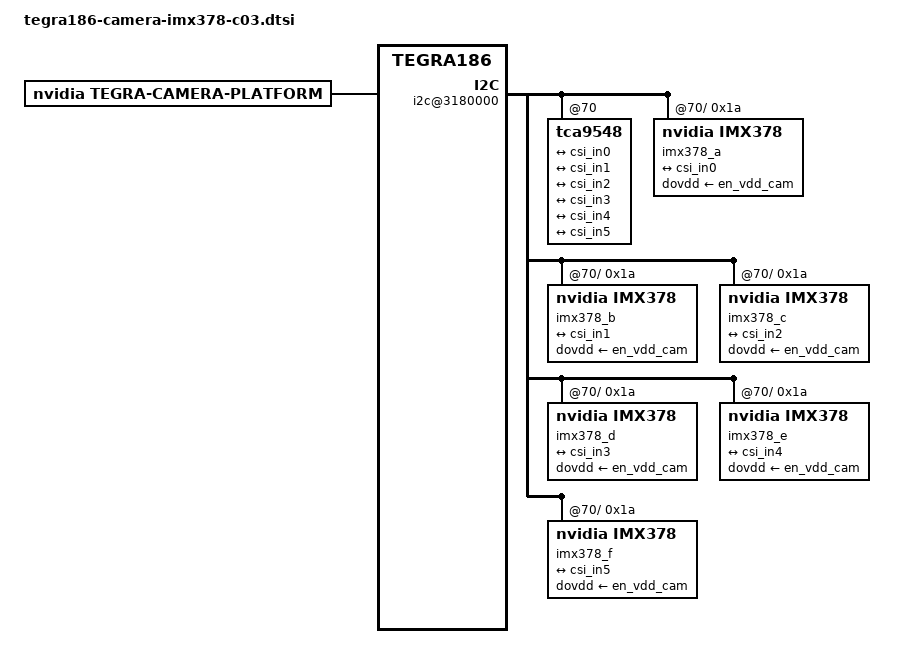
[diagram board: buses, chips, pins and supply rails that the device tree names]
/*
 * Copyright (c) 2017, CenturyArks All rights reserved.
 * Copyright (c) 2016, NVIDIA CORPORATION.  All rights reserved.
 *
 * This program is free software; you can redistribute it and/or modify
 * it under the terms of the GNU General Public License as published by
 * the Free Software Foundation; either version 2 of the License, or
 * (at your option) any later version.
 *
 * This program is distributed in the hope that it will be useful, but WITHOUT
 * ANY WARRANTY; without even the implied warranty of MERCHANTABILITY or
 * FITNESS FOR A PARTICULAR PURPOSE.  See the GNU General Public License for
 * more details.
 *
 * You should have received a copy of the GNU General Public License
 * along with this program.  If not, see <http://www.gnu.org/licenses/>.
 */

/ {
	host1x {
		vi@15700000 {
			num-channels = <6>;
			ports {
				#address-cells = <1>;
				#size-cells = <0>;
				port@0 {
					reg = <0>;
					vi_in0: endpoint {
						port-index = <0>;
						bus-width = <2>;
						remote-endpoint = <&csi_out0>;
					};
				};
				port@1 {
					reg = <1>;
					vi_in1: endpoint {
						port-index = <1>;
						bus-width = <2>;
						remote-endpoint = <&csi_out1>;
					};
				};
				port@2 {
					reg = <2>;
					vi_in2: endpoint {
						port-index = <2>;
						bus-width = <2>;
						remote-endpoint = <&csi_out2>;
					};
				};
				port@3 {
					reg = <3>;
					vi_in3: endpoint {
						port-index = <3>;
						bus-width = <2>;
						remote-endpoint = <&csi_out3>;
					};
				};
				port@4 {
					reg = <4>;
					vi_in4: endpoint {
						port-index = <4>;
						bus-width = <2>;
						remote-endpoint = <&csi_out4>;
					};
				};
				port@5 {
					reg = <5>;
					vi_in5: endpoint {
						port-index = <5>;
						bus-width = <2>;
						remote-endpoint = <&csi_out5>;
					};
				};
			};
		};

		nvcsi@150c0000 {
			num-channels = <6>;
			channel@0 {
				reg = <0>;
				ports {
					#address-cells = <1>;
					#size-cells = <0>;
					port@0 {
						reg = <0>;
						csi_in0: endpoint@0 {
							port-index = <0>;
							bus-width = <2>;
							remote-endpoint = <&imx378_out0>;
						};
					};
					port@1 {
						reg = <1>;
						csi_out0: endpoint@1 {
							remote-endpoint = <&vi_in0>;
						};
					};
				};
			};
			channel@1 {
				reg = <1>;
				ports {
					#address-cells = <1>;
					#size-cells = <0>;
					port@0 {
						reg = <0>;
						csi_in1: endpoint@2 {
							port-index = <1>;
							bus-width = <2>;
							remote-endpoint = <&imx378_out1>;
						};
					};
					port@1 {
						reg = <1>;
						csi_out1: endpoint@3 {
							remote-endpoint = <&vi_in1>;
						};
					};
				};
			};
			channel@2 {
				reg = <2>;
				ports {
					#address-cells = <1>;
					#size-cells = <0>;
					port@0 {
						reg = <0>;
						csi_in2: endpoint@4 {
							port-index = <2>;
							bus-width = <2>;
							remote-endpoint = <&imx378_out2>;
						};
					};
					port@1 {
						reg = <1>;
						csi_out2: endpoint@5 {
							remote-endpoint = <&vi_in2>;
						};
					};
				};
			};
			channel@3 {
				reg = <3>;
				ports {
					#address-cells = <1>;
					#size-cells = <0>;
					port@0 {
						reg = <0>;
						csi_in3: endpoint@6 {
							port-index = <3>;
							bus-width = <2>;
							remote-endpoint = <&imx378_out3>;
						};
					};
					port@1 {
						reg = <1>;
						csi_out3: endpoint@7 {
							remote-endpoint = <&vi_in3>;
						};
					};
				};
			};
			channel@4 {
				reg = <4>;
				ports {
					#address-cells = <1>;
					#size-cells = <0>;
					port@0 {
						reg = <0>;
						csi_in4: endpoint@8 {
							port-index = <4>;
							bus-width = <2>;
							remote-endpoint = <&imx378_out4>;
						};
					};
					port@1 {
						reg = <1>;
						csi_out4: endpoint@9 {
							remote-endpoint = <&vi_in4>;
						};
					};
				};
			};
			channel@5 {
				reg = <5>;
				ports {
					#address-cells = <1>;
					#size-cells = <0>;
					port@0 {
						reg = <0>;
						csi_in5: endpoint@10 {
							port-index = <5>;
							bus-width = <2>;
							remote-endpoint = <&imx378_out5>;
						};
					};
					port@1 {
						reg = <1>;
						csi_out5: endpoint@11 {
							remote-endpoint = <&vi_in5>;
						};
					};
				};
			};
		};
	};

	i2c@3180000 {
		tca9548@70 {
			i2c@0 {
				imx378_a@1a {
					devnode = "video0";
					compatible = "nvidia,imx378";
					reg = <0x1a>;

					physical_w = "7.564";
					physical_h = "5.476";

					sensor_model ="imx378";
					dovdd-supply = <&en_vdd_cam>;
					avdd-reg = "vana";
					dvdd-reg = "vdig";
					iovdd-reg = "dovdd";

					mode0 { // IMX378_MODE_4032X3040
						mclk_khz = "6000";
						num_lanes = "2";
						tegra_sinterface = "serial_a";
						phy_mode = "DPHY";
						discontinuous_clk = "yes";
						cil_settletime = "0";

						active_w = "4032";
						active_h = "3040";
						mode_type = "bayer";
						pixel_phase = "rggb";
						csi_pixel_bit_depth = "10";
						readout_orientation = "90";
						line_length = "4350";
						inherent_gain = "1";
						mclk_multiplier = "348";
						pix_clk_hz = "417600000";

						gain_factor = "256";
						min_gain_val = "256";
						max_gain_val = "5632";
						step_gain_val = "1";
						default_gain = "256";
						min_hdr_ratio = "1";
						max_hdr_ratio = "64";
						framerate_factor = "1000000";
						min_framerate = "1000000";
						max_framerate = "30000000";
						step_framerate = "1";
						default_framerate= "30000000";
						exposure_factor = "1";
						min_exp_time = "1";
						max_exp_time = "65515";
						step_exp_time = "1";
						default_exp_time = "3180";/* us */
						embedded_metadata_height = "0";
					};
					mode1 { // IMX378_MODE_3840X2160
						mclk_khz = "6000";
						num_lanes = "2";
						tegra_sinterface = "serial_a";
						phy_mode = "DPHY";
						discontinuous_clk = "yes";
						cil_settletime = "0";

						active_w = "3840";
						active_h = "2160";
						mode_type = "bayer";
						pixel_phase = "rggb";
						csi_pixel_bit_depth = "10";
						readout_orientation = "90";
						line_length = "4250";
						inherent_gain = "1";
						mclk_multiplier = "238";
						pix_clk_hz = "285600000";

						gain_factor = "256";
						min_gain_val = "256";
						max_gain_val = "5632";
						step_gain_val = "1";
						default_gain = "256";
						min_hdr_ratio = "1";
						max_hdr_ratio = "64";
						framerate_factor = "1000000";
						min_framerate = "1000000";
						max_framerate = "30000000";
						step_framerate = "1";
						default_framerate= "30000000";
						exposure_factor = "1";
						min_exp_time = "1";
						max_exp_time = "65515";
						step_exp_time = "1";
						default_exp_time = "2220";/* us */
						embedded_metadata_height = "0";
					};
					mode2 { // IMX378_MODE_1920X1080
						mclk_khz = "6000";
						num_lanes = "2";
						tegra_sinterface = "serial_a";
						phy_mode = "DPHY";
						discontinuous_clk = "yes";
						cil_settletime = "0";

						active_w = "1920";
						active_h = "1080";
						mode_type = "bayer";
						pixel_phase = "rggb";
						csi_pixel_bit_depth = "10";
						readout_orientation = "90";
						line_length = "2240";
						inherent_gain = "1";
						mclk_multiplier = "126";
						pix_clk_hz = "151200000";

						gain_factor = "256";
						min_gain_val = "256";
						max_gain_val = "5632";
						step_gain_val = "1";
						default_gain = "256";
						min_hdr_ratio = "1";
						max_hdr_ratio = "64";
						framerate_factor = "1000000";
						min_framerate = "1000000";
						max_framerate = "60000000";
						step_framerate = "1";
						default_framerate= "30000000";
						exposure_factor = "1";
						min_exp_time = "1";
						max_exp_time = "65515";
						step_exp_time = "1";
						default_exp_time = "1105";/* us */
						embedded_metadata_height = "0";
					};
					mode3 { // IMX378_MODE_640X480
						mclk_khz = "6000";
						num_lanes = "2";
						tegra_sinterface = "serial_a";
						phy_mode = "DPHY";
						discontinuous_clk = "yes";
						cil_settletime = "0";

						active_w = "640";
						active_h = "480";
						mode_type = "bayer";
						pixel_phase = "rggb";
						csi_pixel_bit_depth = "10";
						readout_orientation = "90";
						line_length = "800";
						inherent_gain = "1";
						mclk_multiplier = "140";
						pix_clk_hz = "168000000";

						gain_factor = "256";
						min_gain_val = "256";
						max_gain_val = "5632";
						step_gain_val = "1";
						default_gain = "256";
						min_hdr_ratio = "1";
						max_hdr_ratio = "64";
						framerate_factor = "1000000";
						min_framerate = "1000000";
						max_framerate = "200000000";
						step_framerate = "1";
						default_framerate= "30000000";
						exposure_factor = "1";
						min_exp_time = "1";
						max_exp_time = "65515";
						step_exp_time = "1";
						default_exp_time = "1030";/* us */
						embedded_metadata_height = "0";
					};
					ports {
						#address-cells = <1>;
						#size-cells = <0>;
						port@0 {
							reg = <0>;
							imx378_out0: endpoint {
								port-index = <0>;
								bus-width = <2>;
								remote-endpoint = <&csi_in0>;
							};
						};
					};
				};
			};
			i2c@1 {
				imx378_b@1a {
					devnode = "video1";
					compatible = "nvidia,imx378";
					reg = <0x1a>;

					physical_w = "7.564";
					physical_h = "5.476";

					sensor_model ="imx378";
					dovdd-supply = <&en_vdd_cam>;
					avdd-reg = "vana";
					dvdd-reg = "vdig";
					iovdd-reg = "dovdd";

					mode0 { // IMX378_MODE_4032X3040
						mclk_khz = "6000";
						num_lanes = "2";
						tegra_sinterface = "serial_b";
						phy_mode = "DPHY";
						discontinuous_clk = "yes";
						cil_settletime = "0";

						active_w = "4032";
						active_h = "3040";
						mode_type = "bayer";
						pixel_phase = "rggb";
						csi_pixel_bit_depth = "10";
						readout_orientation = "90";
						line_length = "4350";
						inherent_gain = "1";
						mclk_multiplier = "348";
						pix_clk_hz = "417600000";

						gain_factor = "256";
						min_gain_val = "256";
						max_gain_val = "5632";
						step_gain_val = "1";
						default_gain = "256";
						min_hdr_ratio = "1";
						max_hdr_ratio = "64";
						framerate_factor = "1000000";
						min_framerate = "1000000";
						max_framerate = "30000000";
						step_framerate = "1";
						default_framerate= "30000000";
						exposure_factor = "1";
						min_exp_time = "1";
						max_exp_time = "65515";
						step_exp_time = "1";
						default_exp_time = "3180";/* us */
						embedded_metadata_height = "0";
					};
					mode1 { // IMX378_MODE_3840X2160
						mclk_khz = "6000";
						num_lanes = "2";
						tegra_sinterface = "serial_b";
						phy_mode = "DPHY";
						discontinuous_clk = "yes";
						cil_settletime = "0";

						active_w = "3840";
						active_h = "2160";
						mode_type = "bayer";
						pixel_phase = "rggb";
						csi_pixel_bit_depth = "10";
						readout_orientation = "90";
						line_length = "4250";
						inherent_gain = "1";
						mclk_multiplier = "238";
						pix_clk_hz = "285600000";

						gain_factor = "256";
						min_gain_val = "256";
						max_gain_val = "5632";
						step_gain_val = "1";
						default_gain = "256";
						min_hdr_ratio = "1";
						max_hdr_ratio = "64";
						framerate_factor = "1000000";
						min_framerate = "1000000";
						max_framerate = "30000000";
						step_framerate = "1";
						default_framerate= "30000000";
						exposure_factor = "1";
						min_exp_time = "1";
						max_exp_time = "65515";
						step_exp_time = "1";
						default_exp_time = "2220";/* us */
						embedded_metadata_height = "0";
					};
					mode2 { // IMX378_MODE_1920X1080
						mclk_khz = "6000";
						num_lanes = "2";
						tegra_sinterface = "serial_b";
						phy_mode = "DPHY";
						discontinuous_clk = "yes";
						cil_settletime = "0";

						active_w = "1920";
						active_h = "1080";
						mode_type = "bayer";
						pixel_phase = "rggb";
						csi_pixel_bit_depth = "10";
						readout_orientation = "90";
						line_length = "2240";
						inherent_gain = "1";
						mclk_multiplier = "126";
						pix_clk_hz = "151200000";

						gain_factor = "256";
						min_gain_val = "256";
						max_gain_val = "5632";
						step_gain_val = "1";
						default_gain = "256";
						min_hdr_ratio = "1";
						max_hdr_ratio = "64";
						framerate_factor = "1000000";
						min_framerate = "1000000";
						max_framerate = "60000000";
						step_framerate = "1";
						default_framerate= "30000000";
						exposure_factor = "1";
						min_exp_time = "1";
						max_exp_time = "65515";
						step_exp_time = "1";
						default_exp_time = "1105";/* us */
						embedded_metadata_height = "0";
					};
					mode3 { // IMX378_MODE_640X480
						mclk_khz = "6000";
						num_lanes = "2";
						tegra_sinterface = "serial_b";
						phy_mode = "DPHY";
						discontinuous_clk = "yes";
						cil_settletime = "0";

						active_w = "640";
						active_h = "480";
						mode_type = "bayer";
						pixel_phase = "rggb";
						csi_pixel_bit_depth = "10";
						readout_orientation = "90";
						line_length = "800";
						inherent_gain = "1";
						mclk_multiplier = "140";
						pix_clk_hz = "168000000";

						gain_factor = "256";
						min_gain_val = "256";
						max_gain_val = "5632";
						step_gain_val = "1";
						default_gain = "256";
						min_hdr_ratio = "1";
						max_hdr_ratio = "64";
						framerate_factor = "1000000";
						min_framerate = "1000000";
						max_framerate = "200000000";
						step_framerate = "1";
						default_framerate= "30000000";
						exposure_factor = "1";
						min_exp_time = "1";
						max_exp_time = "65515";
						step_exp_time = "1";
						default_exp_time = "1030";/* us */
						embedded_metadata_height = "0";
					};
					ports {
						#address-cells = <1>;
						#size-cells = <0>;
						port@0 {
							reg = <0>;
							imx378_out1: endpoint {
								port-index = <1>;
								bus-width = <2>;
								remote-endpoint = <&csi_in1>;
							};
						};
					};
				};
			};
			i2c@2 {
				imx378_c@1a {
					devnode = "video2";
					compatible = "nvidia,imx378";
					reg = <0x1a>;

					physical_w = "7.564";
					physical_h = "5.476";

					sensor_model ="imx378";
					dovdd-supply = <&en_vdd_cam>;
					avdd-reg = "vana";
					dvdd-reg = "vdig";
					iovdd-reg = "dovdd";

					mode0 { // IMX378_MODE_4032X3040
						mclk_khz = "6000";
						num_lanes = "2";
						tegra_sinterface = "serial_c";
						phy_mode = "DPHY";
						discontinuous_clk = "yes";
						cil_settletime = "0";

						active_w = "4032";
						active_h = "3040";
						mode_type = "bayer";
						pixel_phase = "rggb";
						csi_pixel_bit_depth = "10";
						readout_orientation = "90";
						line_length = "4350";
						inherent_gain = "1";
						mclk_multiplier = "348";
						pix_clk_hz = "417600000";

						gain_factor = "256";
						min_gain_val = "256";
						max_gain_val = "5632";
						step_gain_val = "1";
						default_gain = "256";
						min_hdr_ratio = "1";
						max_hdr_ratio = "64";
						framerate_factor = "1000000";
						min_framerate = "1000000";
						max_framerate = "30000000";
						step_framerate = "1";
						default_framerate= "30000000";
						exposure_factor = "1";
						min_exp_time = "1";
						max_exp_time = "65515";
						step_exp_time = "1";
						default_exp_time = "3180";/* us */
						embedded_metadata_height = "0";
					};
					mode1 { // IMX378_MODE_3840X2160
						mclk_khz = "6000";
						num_lanes = "2";
						tegra_sinterface = "serial_c";
						phy_mode = "DPHY";
						discontinuous_clk = "yes";
						cil_settletime = "0";

						active_w = "3840";
						active_h = "2160";
						mode_type = "bayer";
						pixel_phase = "rggb";
						csi_pixel_bit_depth = "10";
						readout_orientation = "90";
						line_length = "4250";
						inherent_gain = "1";
						mclk_multiplier = "238";
						pix_clk_hz = "285600000";

						gain_factor = "256";
						min_gain_val = "256";
						max_gain_val = "5632";
						step_gain_val = "1";
						default_gain = "256";
						min_hdr_ratio = "1";
						max_hdr_ratio = "64";
						framerate_factor = "1000000";
						min_framerate = "1000000";
						max_framerate = "30000000";
						step_framerate = "1";
						default_framerate= "30000000";
						exposure_factor = "1";
						min_exp_time = "1";
						max_exp_time = "65515";
						step_exp_time = "1";
						default_exp_time = "2220";/* us */
						embedded_metadata_height = "0";
					};
					mode2 { // IMX378_MODE_1920X1080
						mclk_khz = "6000";
						num_lanes = "2";
						tegra_sinterface = "serial_c";
						phy_mode = "DPHY";
						discontinuous_clk = "yes";
						cil_settletime = "0";

						active_w = "1920";
						active_h = "1080";
						mode_type = "bayer";
						pixel_phase = "rggb";
						csi_pixel_bit_depth = "10";
						readout_orientation = "90";
						line_length = "2240";
						inherent_gain = "1";
						mclk_multiplier = "126";
						pix_clk_hz = "151200000";

						gain_factor = "256";
						min_gain_val = "256";
						max_gain_val = "5632";
						step_gain_val = "1";
						default_gain = "256";
						min_hdr_ratio = "1";
						max_hdr_ratio = "64";
						framerate_factor = "1000000";
						min_framerate = "1000000";
						max_framerate = "60000000";
						step_framerate = "1";
						default_framerate= "30000000";
						exposure_factor = "1";
						min_exp_time = "1";
						max_exp_time = "65515";
						step_exp_time = "1";
						default_exp_time = "1105";/* us */
						embedded_metadata_height = "0";
					};
					mode3 { // IMX378_MODE_640X480
						mclk_khz = "6000";
						num_lanes = "2";
						tegra_sinterface = "serial_c";
						phy_mode = "DPHY";
						discontinuous_clk = "yes";
						cil_settletime = "0";

						active_w = "640";
						active_h = "480";
						mode_type = "bayer";
						pixel_phase = "rggb";
						csi_pixel_bit_depth = "10";
						readout_orientation = "90";
						line_length = "800";
						inherent_gain = "1";
						mclk_multiplier = "140";
						pix_clk_hz = "168000000";

						gain_factor = "256";
						min_gain_val = "256";
						max_gain_val = "5632";
						step_gain_val = "1";
						default_gain = "256";
						min_hdr_ratio = "1";
						max_hdr_ratio = "64";
						framerate_factor = "1000000";
						min_framerate = "1000000";
						max_framerate = "200000000";
						step_framerate = "1";
						default_framerate= "30000000";
						exposure_factor = "1";
						min_exp_time = "1";
						max_exp_time = "65515";
						step_exp_time = "1";
						default_exp_time = "1030";/* us */
						embedded_metadata_height = "0";
					};
					ports {
						#address-cells = <1>;
						#size-cells = <0>;
						port@0 {
							reg = <0>;
							imx378_out2: endpoint {
								port-index = <2>;
								bus-width = <2>;
								remote-endpoint = <&csi_in2>;
							};
						};
					};
				};
			};
			i2c@3 {
				imx378_d@1a {
					devnode = "video3";
					compatible = "nvidia,imx378";
					reg = <0x1a>;

					physical_w = "7.564";
					physical_h = "5.476";

					sensor_model ="imx378";
					dovdd-supply = <&en_vdd_cam>;
					avdd-reg = "vana";
					dvdd-reg = "vdig";
					iovdd-reg = "dovdd";

					mode0 { // IMX378_MODE_4032X3040
						mclk_khz = "6000";
						num_lanes = "2";
						tegra_sinterface = "serial_d";
						phy_mode = "DPHY";
						discontinuous_clk = "yes";
						cil_settletime = "0";

						active_w = "4032";
						active_h = "3040";
						mode_type = "bayer";
						pixel_phase = "rggb";
						csi_pixel_bit_depth = "10";
						readout_orientation = "90";
						line_length = "4350";
						inherent_gain = "1";
						mclk_multiplier = "348";
						pix_clk_hz = "417600000";

						gain_factor = "256";
						min_gain_val = "256";
						max_gain_val = "5632";
						step_gain_val = "1";
						default_gain = "256";
						min_hdr_ratio = "1";
						max_hdr_ratio = "64";
						framerate_factor = "1000000";
						min_framerate = "1000000";
						max_framerate = "30000000";
						step_framerate = "1";
						default_framerate= "30000000";
						exposure_factor = "1";
						min_exp_time = "1";
						max_exp_time = "65515";
						step_exp_time = "1";
						default_exp_time = "3180";/* us */
						embedded_metadata_height = "0";
					};
					mode1 { // IMX378_MODE_3840X2160
						mclk_khz = "6000";
						num_lanes = "2";
						tegra_sinterface = "serial_d";
						phy_mode = "DPHY";
						discontinuous_clk = "yes";
						cil_settletime = "0";

						active_w = "3840";
						active_h = "2160";
						mode_type = "bayer";
						pixel_phase = "rggb";
						csi_pixel_bit_depth = "10";
						readout_orientation = "90";
						line_length = "4250";
						inherent_gain = "1";
						mclk_multiplier = "238";
						pix_clk_hz = "285600000";

						gain_factor = "256";
						min_gain_val = "256";
						max_gain_val = "5632";
						step_gain_val = "1";
						default_gain = "256";
						min_hdr_ratio = "1";
						max_hdr_ratio = "64";
						framerate_factor = "1000000";
						min_framerate = "1000000";
						max_framerate = "30000000";
						step_framerate = "1";
						default_framerate= "30000000";
						exposure_factor = "1";
						min_exp_time = "1";
						max_exp_time = "65515";
						step_exp_time = "1";
						default_exp_time = "2220";/* us */
						embedded_metadata_height = "0";
					};
					mode2 { // IMX378_MODE_1920X1080
						mclk_khz = "6000";
						num_lanes = "2";
						tegra_sinterface = "serial_d";
						phy_mode = "DPHY";
						discontinuous_clk = "yes";
						cil_settletime = "0";

						active_w = "1920";
						active_h = "1080";
						mode_type = "bayer";
						pixel_phase = "rggb";
						csi_pixel_bit_depth = "10";
						readout_orientation = "90";
						line_length = "2240";
						inherent_gain = "1";
						mclk_multiplier = "126";
						pix_clk_hz = "151200000";

						gain_factor = "256";
						min_gain_val = "256";
						max_gain_val = "5632";
						step_gain_val = "1";
						default_gain = "256";
						min_hdr_ratio = "1";
						max_hdr_ratio = "64";
						framerate_factor = "1000000";
						min_framerate = "1000000";
						max_framerate = "60000000";
						step_framerate = "1";
						default_framerate= "30000000";
						exposure_factor = "1";
						min_exp_time = "1";
						max_exp_time = "65515";
						step_exp_time = "1";
						default_exp_time = "1105";/* us */
						embedded_metadata_height = "0";
					};
					mode3 { // IMX378_MODE_640X480
						mclk_khz = "6000";
						num_lanes = "2";
						tegra_sinterface = "serial_d";
						phy_mode = "DPHY";
						discontinuous_clk = "yes";
						cil_settletime = "0";

						active_w = "640";
						active_h = "480";
						mode_type = "bayer";
						pixel_phase = "rggb";
						csi_pixel_bit_depth = "10";
						readout_orientation = "90";
						line_length = "800";
						inherent_gain = "1";
						mclk_multiplier = "140";
						pix_clk_hz = "168000000";

						gain_factor = "256";
						min_gain_val = "256";
						max_gain_val = "5632";
						step_gain_val = "1";
						default_gain = "256";
						min_hdr_ratio = "1";
						max_hdr_ratio = "64";
						framerate_factor = "1000000";
						min_framerate = "1000000";
						max_framerate = "200000000";
						step_framerate = "1";
						default_framerate= "30000000";
						exposure_factor = "1";
						min_exp_time = "1";
						max_exp_time = "65515";
						step_exp_time = "1";
						default_exp_time = "1030";/* us */
						embedded_metadata_height = "0";
					};
					ports {
						#address-cells = <1>;
						#size-cells = <0>;
						port@0 {
							reg = <0>;
							imx378_out3: endpoint {
								port-index = <3>;
								bus-width = <2>;
								remote-endpoint = <&csi_in3>;
							};
						};
					};
				};
			};
			i2c@4 {
				imx378_e@1a {
					devnode = "video4";
					compatible = "nvidia,imx378";
					reg = <0x1a>;

					physical_w = "7.564";
					physical_h = "5.476";

					sensor_model ="imx378";
					dovdd-supply = <&en_vdd_cam>;
					avdd-reg = "vana";
					dvdd-reg = "vdig";
					iovdd-reg = "dovdd";

					mode0 { // IMX378_MODE_4032X3040
						mclk_khz = "6000";
						num_lanes = "2";
						tegra_sinterface = "serial_e";
						phy_mode = "DPHY";
						discontinuous_clk = "yes";
						cil_settletime = "0";

						active_w = "4032";
						active_h = "3040";
						mode_type = "bayer";
						pixel_phase = "rggb";
						csi_pixel_bit_depth = "10";
						readout_orientation = "90";
						line_length = "4350";
						inherent_gain = "1";
						mclk_multiplier = "348";
						pix_clk_hz = "417600000";

						gain_factor = "256";
						min_gain_val = "256";
						max_gain_val = "5632";
						step_gain_val = "1";
						default_gain = "256";
						min_hdr_ratio = "1";
						max_hdr_ratio = "64";
						framerate_factor = "1000000";
						min_framerate = "1000000";
						max_framerate = "30000000";
						step_framerate = "1";
						default_framerate= "30000000";
						exposure_factor = "1";
						min_exp_time = "1";
						max_exp_time = "65515";
						step_exp_time = "1";
						default_exp_time = "3180";/* us */
						embedded_metadata_height = "0";
					};
					mode1 { // IMX378_MODE_3840X2160
						mclk_khz = "6000";
						num_lanes = "2";
						tegra_sinterface = "serial_e";
						phy_mode = "DPHY";
						discontinuous_clk = "yes";
						cil_settletime = "0";

						active_w = "3840";
						active_h = "2160";
						mode_type = "bayer";
						pixel_phase = "rggb";
						csi_pixel_bit_depth = "10";
						readout_orientation = "90";
						line_length = "4250";
						inherent_gain = "1";
						mclk_multiplier = "238";
						pix_clk_hz = "285600000";

						gain_factor = "256";
						min_gain_val = "256";
						max_gain_val = "5632";
						step_gain_val = "1";
						default_gain = "256";
						min_hdr_ratio = "1";
						max_hdr_ratio = "64";
						framerate_factor = "1000000";
						min_framerate = "1000000";
						max_framerate = "30000000";
						step_framerate = "1";
						default_framerate= "30000000";
						exposure_factor = "1";
						min_exp_time = "1";
						max_exp_time = "65515";
						step_exp_time = "1";
						default_exp_time = "2220";/* us */
						embedded_metadata_height = "0";
					};
					mode2 { // IMX378_MODE_1920X1080
						mclk_khz = "6000";
						num_lanes = "2";
						tegra_sinterface = "serial_e";
						phy_mode = "DPHY";
						discontinuous_clk = "yes";
						cil_settletime = "0";

						active_w = "1920";
						active_h = "1080";
						mode_type = "bayer";
						pixel_phase = "rggb";
						csi_pixel_bit_depth = "10";
						readout_orientation = "90";
						line_length = "2240";
						inherent_gain = "1";
						mclk_multiplier = "126";
						pix_clk_hz = "151200000";

						gain_factor = "256";
						min_gain_val = "256";
						max_gain_val = "5632";
						step_gain_val = "1";
						default_gain = "256";
						min_hdr_ratio = "1";
						max_hdr_ratio = "64";
						framerate_factor = "1000000";
						min_framerate = "1000000";
						max_framerate = "60000000";
						step_framerate = "1";
						default_framerate= "30000000";
						exposure_factor = "1";
						min_exp_time = "1";
						max_exp_time = "65515";
						step_exp_time = "1";
						default_exp_time = "1105";/* us */
						embedded_metadata_height = "0";
					};
					mode3 { // IMX378_MODE_640X480
						mclk_khz = "6000";
						num_lanes = "2";
						tegra_sinterface = "serial_e";
						phy_mode = "DPHY";
						discontinuous_clk = "yes";
						cil_settletime = "0";

						active_w = "640";
						active_h = "480";
						mode_type = "bayer";
						pixel_phase = "rggb";
						csi_pixel_bit_depth = "10";
						readout_orientation = "90";
						line_length = "800";
						inherent_gain = "1";
						mclk_multiplier = "140";
						pix_clk_hz = "168000000";

						gain_factor = "256";
						min_gain_val = "256";
						max_gain_val = "5632";
						step_gain_val = "1";
						default_gain = "256";
						min_hdr_ratio = "1";
						max_hdr_ratio = "64";
						framerate_factor = "1000000";
						min_framerate = "1000000";
						max_framerate = "200000000";
						step_framerate = "1";
						default_framerate= "30000000";
						exposure_factor = "1";
						min_exp_time = "1";
						max_exp_time = "65515";
						step_exp_time = "1";
						default_exp_time = "1030";/* us */
						embedded_metadata_height = "0";
					};
					ports {
						#address-cells = <1>;
						#size-cells = <0>;
						port@0 {
							reg = <0>;
							imx378_out4: endpoint {
								port-index = <4>;
								bus-width = <2>;
								remote-endpoint = <&csi_in4>;
							};
						};
					};
				};
			};
			i2c@5 {
				imx378_f@1a {
					devnode = "video5";
					compatible = "nvidia,imx378";
					reg = <0x1a>;

					physical_w = "7.564";
					physical_h = "5.476";

					sensor_model ="imx378";
					dovdd-supply = <&en_vdd_cam>;
					avdd-reg = "vana";
					dvdd-reg = "vdig";
					iovdd-reg = "dovdd";

					mode0 { // IMX378_MODE_4032X3040
						mclk_khz = "6000";
						num_lanes = "2";
						tegra_sinterface = "serial_f";
						phy_mode = "DPHY";
						discontinuous_clk = "yes";
						cil_settletime = "0";

						active_w = "4032";
						active_h = "3040";
						mode_type = "bayer";
						pixel_phase = "rggb";
						csi_pixel_bit_depth = "10";
						readout_orientation = "90";
						line_length = "4350";
						inherent_gain = "1";
						mclk_multiplier = "348";
						pix_clk_hz = "417600000";

						gain_factor = "256";
						min_gain_val = "256";
						max_gain_val = "5632";
						step_gain_val = "1";
						default_gain = "256";
						min_hdr_ratio = "1";
						max_hdr_ratio = "64";
						framerate_factor = "1000000";
						min_framerate = "1000000";
						max_framerate = "30000000";
						step_framerate = "1";
						default_framerate= "30000000";
						exposure_factor = "1";
						min_exp_time = "1";
						max_exp_time = "65515";
						step_exp_time = "1";
						default_exp_time = "3180";/* us */
						embedded_metadata_height = "0";
					};
					mode1 { // IMX378_MODE_3840X2160
						mclk_khz = "6000";
						num_lanes = "2";
						tegra_sinterface = "serial_f";
						phy_mode = "DPHY";
						discontinuous_clk = "yes";
						cil_settletime = "0";

						active_w = "3840";
						active_h = "2160";
						mode_type = "bayer";
						pixel_phase = "rggb";
						csi_pixel_bit_depth = "10";
						readout_orientation = "90";
						line_length = "4250";
						inherent_gain = "1";
						mclk_multiplier = "238";
						pix_clk_hz = "285600000";

						gain_factor = "256";
						min_gain_val = "256";
						max_gain_val = "5632";
						step_gain_val = "1";
						default_gain = "256";
						min_hdr_ratio = "1";
						max_hdr_ratio = "64";
						framerate_factor = "1000000";
						min_framerate = "1000000";
						max_framerate = "30000000";
						step_framerate = "1";
						default_framerate= "30000000";
						exposure_factor = "1";
						min_exp_time = "1";
						max_exp_time = "65515";
						step_exp_time = "1";
						default_exp_time = "2220";/* us */
						embedded_metadata_height = "0";
					};
					mode2 { // IMX378_MODE_1920X1080
						mclk_khz = "6000";
						num_lanes = "2";
						tegra_sinterface = "serial_f";
						phy_mode = "DPHY";
						discontinuous_clk = "yes";
						cil_settletime = "0";

						active_w = "1920";
						active_h = "1080";
						mode_type = "bayer";
						pixel_phase = "rggb";
						csi_pixel_bit_depth = "10";
						readout_orientation = "90";
						line_length = "2240";
						inherent_gain = "1";
						mclk_multiplier = "126";
						pix_clk_hz = "151200000";

						gain_factor = "256";
						min_gain_val = "256";
						max_gain_val = "5632";
						step_gain_val = "1";
						default_gain = "256";
						min_hdr_ratio = "1";
						max_hdr_ratio = "64";
						framerate_factor = "1000000";
						min_framerate = "1000000";
						max_framerate = "60000000";
						step_framerate = "1";
						default_framerate= "30000000";
						exposure_factor = "1";
						min_exp_time = "1";
						max_exp_time = "65515";
						step_exp_time = "1";
						default_exp_time = "1105";/* us */
						embedded_metadata_height = "0";
					};
					mode3 { // IMX378_MODE_640X480
						mclk_khz = "6000";
						num_lanes = "2";
						tegra_sinterface = "serial_f";
						phy_mode = "DPHY";
						discontinuous_clk = "yes";
						cil_settletime = "0";

						active_w = "640";
						active_h = "480";
						mode_type = "bayer";
						pixel_phase = "rggb";
						csi_pixel_bit_depth = "10";
						readout_orientation = "90";
						line_length = "800";
						inherent_gain = "1";
						mclk_multiplier = "140";
						pix_clk_hz = "168000000";

						gain_factor = "256";
						min_gain_val = "256";
						max_gain_val = "5632";
						step_gain_val = "1";
						default_gain = "256";
						min_hdr_ratio = "1";
						max_hdr_ratio = "64";
						framerate_factor = "1000000";
						min_framerate = "1000000";
						max_framerate = "200000000";
						step_framerate = "1";
						default_framerate= "30000000";
						exposure_factor = "1";
						min_exp_time = "1";
						max_exp_time = "65515";
						step_exp_time = "1";
						default_exp_time = "1030";/* us */
						embedded_metadata_height = "0";
					};
					ports {
						#address-cells = <1>;
						#size-cells = <0>;
						port@0 {
							reg = <0>;
							imx378_out5: endpoint {
								port-index = <5>;
								bus-width = <2>;
								remote-endpoint = <&csi_in5>;
							};
						};
					};
				};
			};
		};
	};

	lens_imx378_a@3e {
		min_focus_distance = "0.0";
		hyper_focal = "0.0";
		focal_length = "4.52";
		f_number = "2.0";
		aperture = "2.0";
	};
	lens_imx378_b@3e {
		min_focus_distance = "0.0";
		hyper_focal = "0.0";
		focal_length = "4.52";
		f_number = "2.0";
		aperture = "2.0";
	};
	lens_imx378_c@3e {
		min_focus_distance = "0.0";
		hyper_focal = "0.0";
		focal_length = "4.52";
		f_number = "2.0";
		aperture = "2.0";
	};
	lens_imx378_d@3e {
		min_focus_distance = "0.0";
		hyper_focal = "0.0";
		focal_length = "4.52";
		f_number = "2.0";
		aperture = "2.0";
	};
	lens_imx378_e@3e {
		min_focus_distance = "0.0";
		hyper_focal = "0.0";
		focal_length = "4.52";
		f_number = "2.0";
		aperture = "2.0";
	};
	lens_imx378_f@3e {
		min_focus_distance = "0.0";
		hyper_focal = "0.0";
		focal_length = "4.52";
		f_number = "2.0";
		aperture = "2.0";
	};

	tegra-camera-platform {
		compatible = "nvidia, tegra-camera-platform";
		/**
		* Physical settings to calculate max ISO BW
		*
		* num_csi_lanes = <>;
		* Total number of CSI lanes when all cameras are active
		*
		* max_lane_speed = <>;
		* Max lane speed in Kbit/s
		*
		* min_bits_per_pixel = <>;
		* Min bits per pixel
		*
		* vi_peak_byte_per_pixel = <>;
		* Max byte per pixel for the VI ISO case
		*
		* vi_bw_margin_pct = <>;
		* Vi bandwidth margin in percentage
		*
		* max_pixel_rate = <>;
		* Max pixel rate in Kpixel/s for the ISP ISO case
		*
		* isp_peak_byte_per_pixel = <>;
		* Max byte per pixel for the ISP ISO case
		*
		* isp_bw_margin_pct = <>;
		* Isp bandwidth margin in percentage
		*/
		num_csi_lanes = <12>;
		max_lane_speed = <1500000>;
		min_bits_per_pixel = <10>;
		vi_peak_byte_per_pixel = <2>;
		vi_bw_margin_pct = <25>;
		max_pixel_rate = <750000>;
		isp_peak_byte_per_pixel = <5>;
		isp_bw_margin_pct = <25>;

		/**
		 * The general guideline for naming badge_info contains 3 parts, and is as follows,
		 * The first part is the camera_board_id for the module; if the module is in a FFD
		 * platform, then use the platform name for this part.
		 * The second part contains the position of the module, ex. "rear" or "front".
		 * The third part contains the last 6 characters of a part number which is found
		 * in the module's specsheet from the vender.
		 */
		modules {
			module1 {
				status = "okay";
				badge = "imx378_CH1_396CP";
				position = "0";
				orientation = "1";
				drivernode0 {
					status = "okay";
					/* Declare PCL support driver (classically known as guid)  */
					pcl_id = "v4l2_sensor";
					/* Driver v4l2 device name */
					devname = "imx378 30-001a";
					/* Declare the device-tree hierarchy to driver instance */
					proc-device-tree = "/proc/device-tree/i2c@3180000/tca9548@70/i2c@0/imx378_a@1a";
				};
				drivernode1 {
					/* Declare PCL support driver (classically known as guid)  */
					pcl_id = "v4l2_lens";
					proc-device-tree = "/proc/device-tree/lens_imx378_a@3e/";
				};
			};
			module3 {
				status = "okay";
				badge = "imx378_CH2_396CP";
				position = "1";
				orientation = "1";
				drivernode0 {
					status = "okay";
					/* Declare PCL support driver (classically known as guid)  */
					pcl_id = "v4l2_sensor";
					/* Driver v4l2 device name */
					devname = "imx378 31-001a";
					/* Declare the device-tree hierarchy to driver instance */
					proc-device-tree = "/proc/device-tree/i2c@3180000/tca9548@70/i2c@1/imx378_b@1a";
				};
				drivernode1 {
					/* Declare PCL support driver (classically known as guid)  */
					pcl_id = "v4l2_lens";
					proc-device-tree = "/proc/device-tree/lens_imx378_b@3e/";
				};
			};
			module5 {
				status = "okay";
				badge = "imx378_CH3_396CP";
				position = "2";
				orientation = "1";
				drivernode0 {
					status = "okay";
					/* Declare PCL support driver (classically known as guid)  */
					pcl_id = "v4l2_sensor";
					/* Driver v4l2 device name */
					devname = "imx378 32-001a";
					/* Declare the device-tree hierarchy to driver instance */
					proc-device-tree = "/proc/device-tree/i2c@3180000/tca9548@70/i2c@2/imx378_c@1a";
				};
				drivernode1 {
					/* Declare PCL support driver (classically known as guid)  */
					pcl_id = "v4l2_lens";
					proc-device-tree = "/proc/device-tree/lens_imx378_c@3e/";
				};
			};
			module0 {
				status = "okay";
				badge = "imx378_CH4_396CP";
				position = "3";
				orientation = "1";
				drivernode0 {
					status = "okay";
					/* Declare PCL support driver (classically known as guid)  */
					pcl_id = "v4l2_sensor";
					/* Driver v4l2 device name */
					devname = "imx378 33-001a";
					/* Declare the device-tree hierarchy to driver instance */
					proc-device-tree = "/proc/device-tree/i2c@3180000/tca9548@70/i2c@3/imx378_d@1a";
				};
				drivernode1 {
					/* Declare PCL support driver (classically known as guid)  */
					pcl_id = "v4l2_lens";
					proc-device-tree = "/proc/device-tree/lens_imx378_d@3e/";
				};
			};
			module2 {
				status = "okay";
				badge = "imx378_CH5_396CP";
				position = "4";
				orientation = "1";
				drivernode0 {
					status = "okay";
					/* Declare PCL support driver (classically known as guid)  */
					pcl_id = "v4l2_sensor";
					/* Driver v4l2 device name */
					devname = "imx378 34-001a";
					/* Declare the device-tree hierarchy to driver instance */
					proc-device-tree = "/proc/device-tree/i2c@3180000/tca9548@70/i2c@4/imx378_e@1a";
				};
				drivernode1 {
					/* Declare PCL support driver (classically known as guid)  */
					pcl_id = "v4l2_lens";
					proc-device-tree = "/proc/device-tree/lens_imx378_e@3e/";
				};
			};
			module4 {
				status = "okay";
				badge = "imx378_CH6_396CP";
				position = "5";
				orientation = "1";
				drivernode0 {
					status = "okay";
					/* Declare PCL support driver (classically known as guid)  */
					pcl_id = "v4l2_sensor";
					/* Driver v4l2 device name */
					devname = "imx378 35-001a";
					/* Declare the device-tree hierarchy to driver instance */
					proc-device-tree = "/proc/device-tree/i2c@3180000/tca9548@70/i2c@5/imx378_f@1a";
				};
				drivernode1 {
					/* Declare PCL support driver (classically known as guid)  */
					pcl_id = "v4l2_lens";
					proc-device-tree = "/proc/device-tree/lens_imx378_f@3e/";
				};
			};
		};
	};
};
